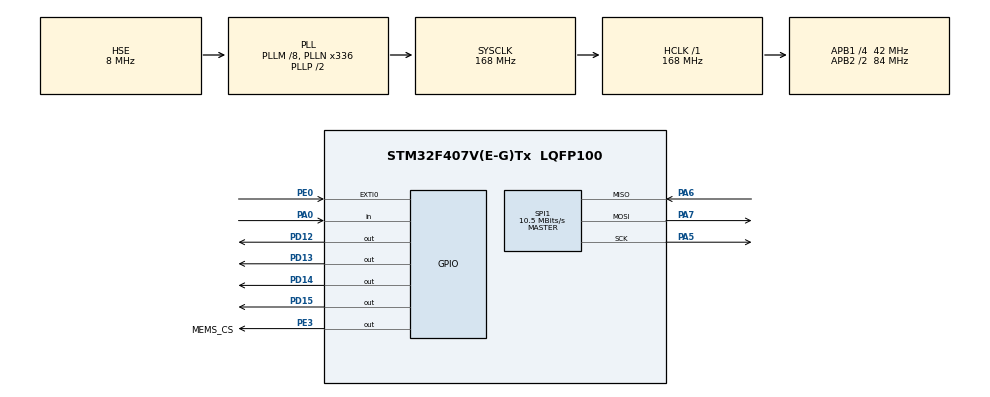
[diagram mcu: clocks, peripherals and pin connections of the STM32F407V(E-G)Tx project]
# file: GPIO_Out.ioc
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Mcu.Family=STM32F4
Mcu.Name=STM32F407V(E-G)Tx
Mcu.Package=LQFP100
NVIC.EXTI0_IRQn=true\:0\:0\:false\:false\:true\:true
NVIC.PriorityGroup=NVIC_PRIORITYGROUP_0
PA0-WKUP.Signal=GPIO_Input
PA5.Mode=Full_Duplex_Master
PA5.Signal=SPI1_SCK
PA6.Mode=Full_Duplex_Master
PA6.Signal=SPI1_MISO
PA7.Mode=Full_Duplex_Master
PA7.Signal=SPI1_MOSI
PD12.Signal=GPIO_Output
PD13.Signal=GPIO_Output
PD14.Signal=GPIO_Output
PD15.Signal=GPIO_Output
PE0.Signal=GPXTI0
PE3.GPIO_Label=MEMS_CS
PE3.Signal=GPIO_Output
PH0-OSC_IN.Mode=HSE-External-Oscillator
PH0-OSC_IN.Signal=RCC_OSC_IN
PH1-OSC_OUT.Mode=HSE-External-Oscillator
PH1-OSC_OUT.Signal=RCC_OSC_OUT
ProjectManager.HeapSize=0x200
ProjectManager.StackSize=0x400
ProjectManager.TargetToolchain=MDK-ARM V5
RCC.48MHZClocksFreq_Value=48000000
RCC.AHBFreq_Value=168000000
RCC.APB1CLKDivider=RCC_HCLK_DIV4
RCC.APB1Freq_Value=42000000
RCC.APB1TimFreq_Value=84000000
RCC.APB2CLKDivider=RCC_HCLK_DIV2
RCC.APB2Freq_Value=84000000
RCC.APB2TimFreq_Value=168000000
RCC.CortexFreq_Value=168000000
RCC.HCLKFreq_Value=168000000
RCC.HSE_VALUE=8000000
RCC.HSI_VALUE=16000000
RCC.LSE_VALUE=32768
RCC.PLLM=8
RCC.PLLN=336
RCC.PLLQ=7
RCC.PLLSourceVirtual=RCC_PLLSOURCE_HSE
RCC.SYSCLKFreq_VALUE=168000000
RCC.SYSCLKSource=RCC_SYSCLKSOURCE_PLLCLK
RCC.VCOOutputFreq_Value=336000000
SPI1.BaudRatePrescaler=SPI_BAUDRATEPRESCALER_8
SPI1.CalculateBaudRate=10.5 MBits/s
SPI1.Direction=SPI_DIRECTION_2LINES
SPI1.Mode=SPI_MODE_MASTER
SPI1.VirtualType=VM_MASTER
board=STM32F4DISCOVERY

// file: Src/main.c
/**
  ******************************************************************************
  * @file           : main.c
  * @brief          : Main program body
  ******************************************************************************
  ** This notice applies to any and all portions of this file
  * that are not between comment pairs USER CODE BEGIN and
  * USER CODE END. Other portions of this file, whether
  * inserted by the user or by software development tools
  * are owned by their respective copyright owners.
  *
  * COPYRIGHT(c) 2019 STMicroelectronics
  *
  * Redistribution and use in source and binary forms, with or without modification,
  * are permitted provided that the following conditions are met:
  *   1. Redistributions of source code must retain the above copyright notice,
  *      this list of conditions and the following disclaimer.
  *   2. Redistributions in binary form must reproduce the above copyright notice,
  *      this list of conditions and the following disclaimer in the documentation
  *      and/or other materials provided with the distribution.
  *   3. Neither the name of STMicroelectronics nor the names of its contributors
  *      may be used to endorse or promote products derived from this software
  *      without specific prior written permission.
  *
  * THIS SOFTWARE IS PROVIDED BY THE COPYRIGHT HOLDERS AND CONTRIBUTORS "AS IS"
  * AND ANY EXPRESS OR IMPLIED WARRANTIES, INCLUDING, BUT NOT LIMITED TO, THE
  * IMPLIED WARRANTIES OF MERCHANTABILITY AND FITNESS FOR A PARTICULAR PURPOSE ARE
  * DISCLAIMED. IN NO EVENT SHALL THE COPYRIGHT HOLDER OR CONTRIBUTORS BE LIABLE
  * FOR ANY DIRECT, INDIRECT, INCIDENTAL, SPECIAL, EXEMPLARY, OR CONSEQUENTIAL
  * DAMAGES (INCLUDING, BUT NOT LIMITED TO, PROCUREMENT OF SUBSTITUTE GOODS OR
  * SERVICES; LOSS OF USE, DATA, OR PROFITS; OR BUSINESS INTERRUPTION) HOWEVER
  * CAUSED AND ON ANY THEORY OF LIABILITY, WHETHER IN CONTRACT, STRICT LIABILITY,
  * OR TORT (INCLUDING NEGLIGENCE OR OTHERWISE) ARISING IN ANY WAY OUT OF THE USE
  * OF THIS SOFTWARE, EVEN IF ADVISED OF THE POSSIBILITY OF SUCH DAMAGE.
  *
  ******************************************************************************
  */
#include "main.h"
#include "stm32f4xx_hal.h"

/* USER CODE BEGIN Includes */
#include "MY_LIS3DSH.h"
/* USER CODE END Includes */

SPI_HandleTypeDef hspi1;

/* USER CODE BEGIN PV */
/* Private variables ---------------------------------------------------------*/

/* USER CODE END PV */

void SystemClock_Config(void);
static void MX_GPIO_Init(void);
static void MX_SPI1_Init(void);

/* USER CODE BEGIN PFP */
/* Private function prototypes -----------------------------------------------*/

/* USER CODE END PFP */

/* USER CODE BEGIN 0 */
LIS3DSH_DataScaled myData;

uint8_t drdyFlag=0;
/* USER CODE END 0 */

int main(void)
{

  /* USER CODE BEGIN 1 */
	LIS3DSH_InitTypeDef myAccConfigDef;
  /* USER CODE END 1 */

  /* MCU Configuration----------------------------------------------------------*/

  /* Reset of all peripherals, Initializes the Flash interface and the Systick. */
  HAL_Init();

  /* Configure the system clock */
  SystemClock_Config();

  /* Initialize all configured peripherals */
  MX_GPIO_Init();
  MX_SPI1_Init();

  /* USER CODE BEGIN 2 */
	myAccConfigDef.dataRate = LIS3DSH_DATARATE_25;
	myAccConfigDef.fullScale = LIS3DSH_FULLSCALE_4;
	myAccConfigDef.antiAliasingBW = LIS3DSH_FILTER_BW_50;
	myAccConfigDef.enableAxes = LIS3DSH_XYZ_ENABLE;
	myAccConfigDef.interruptEnable = true;
	LIS3DSH_Init(&hspi1, &myAccConfigDef);

	LIS3DSH_X_calibrate(-1000.0, 980.0);
	LIS3DSH_Y_calibrate(-1020.0, 1040.0);
	LIS3DSH_Z_calibrate(-920.0, 1040.0);

  /* USER CODE END 2 */

  /* Infinite loop */
  while (1)
  {

  /* USER CODE BEGIN 3 */
		if(drdyFlag == 1)
		{
			drdyFlag = 0;
			myData = LIS3DSH_GetDataScaled();
			if(myData.x < -500)
				HAL_GPIO_TogglePin(GPIOD, GPIO_PIN_12);
			else
				HAL_GPIO_WritePin(GPIOD, GPIO_PIN_12, GPIO_PIN_RESET);
			if(myData.x > 500)
				HAL_GPIO_TogglePin(GPIOD, GPIO_PIN_14);
			else
				HAL_GPIO_WritePin(GPIOD, GPIO_PIN_14, GPIO_PIN_RESET);
			if(myData.y < -500)
				HAL_GPIO_TogglePin(GPIOD, GPIO_PIN_15);
			else
				HAL_GPIO_WritePin(GPIOD, GPIO_PIN_15, GPIO_PIN_RESET);
			if(myData.y > 500)
				HAL_GPIO_TogglePin(GPIOD, GPIO_PIN_13);
			else
				HAL_GPIO_WritePin(GPIOD, GPIO_PIN_13, GPIO_PIN_RESET);
		}

  }
  /* USER CODE END 3 */

}

void SystemClock_Config(void)
{

  RCC_OscInitTypeDef RCC_OscInitStruct;
  RCC_ClkInitTypeDef RCC_ClkInitStruct;

    /**Configure the main internal regulator output voltage
    */
  __HAL_RCC_PWR_CLK_ENABLE();

  __HAL_PWR_VOLTAGESCALING_CONFIG(PWR_REGULATOR_VOLTAGE_SCALE1);

    /**Initializes the CPU, AHB and APB busses clocks
    */
  RCC_OscInitStruct.OscillatorType = RCC_OSCILLATORTYPE_HSE;
  RCC_OscInitStruct.HSEState = RCC_HSE_ON;
  RCC_OscInitStruct.PLL.PLLState = RCC_PLL_ON;
  RCC_OscInitStruct.PLL.PLLSource = RCC_PLLSOURCE_HSE;
  RCC_OscInitStruct.PLL.PLLM = 8;
  RCC_OscInitStruct.PLL.PLLN = 336;
  RCC_OscInitStruct.PLL.PLLP = RCC_PLLP_DIV2;
  RCC_OscInitStruct.PLL.PLLQ = 7;
  if (HAL_RCC_OscConfig(&RCC_OscInitStruct) != HAL_OK)
  {
    _Error_Handler(__FILE__, __LINE__);
  }

    /**Initializes the CPU, AHB and APB busses clocks
    */
  RCC_ClkInitStruct.ClockType = RCC_CLOCKTYPE_HCLK|RCC_CLOCKTYPE_SYSCLK
                              |RCC_CLOCKTYPE_PCLK1|RCC_CLOCKTYPE_PCLK2;
  RCC_ClkInitStruct.SYSCLKSource = RCC_SYSCLKSOURCE_PLLCLK;
  RCC_ClkInitStruct.AHBCLKDivider = RCC_SYSCLK_DIV1;
  RCC_ClkInitStruct.APB1CLKDivider = RCC_HCLK_DIV4;
  RCC_ClkInitStruct.APB2CLKDivider = RCC_HCLK_DIV2;

  if (HAL_RCC_ClockConfig(&RCC_ClkInitStruct, FLASH_LATENCY_5) != HAL_OK)
  {
    _Error_Handler(__FILE__, __LINE__);
  }

    /**Configure the Systick interrupt time
    */
  HAL_SYSTICK_Config(HAL_RCC_GetHCLKFreq()/1000);

    /**Configure the Systick
    */
  HAL_SYSTICK_CLKSourceConfig(SYSTICK_CLKSOURCE_HCLK);

  /* SysTick_IRQn interrupt configuration */
  HAL_NVIC_SetPriority(SysTick_IRQn, 0, 0);
}

/* SPI1 init function */
static void MX_SPI1_Init(void)
{

  /* SPI1 parameter configuration*/
  hspi1.Instance = SPI1;
  hspi1.Init.Mode = SPI_MODE_MASTER;
  hspi1.Init.Direction = SPI_DIRECTION_2LINES;
  hspi1.Init.DataSize = SPI_DATASIZE_8BIT;
  hspi1.Init.CLKPolarity = SPI_POLARITY_LOW;
  hspi1.Init.CLKPhase = SPI_PHASE_1EDGE;
  hspi1.Init.NSS = SPI_NSS_SOFT;
  hspi1.Init.BaudRatePrescaler = SPI_BAUDRATEPRESCALER_8;
  hspi1.Init.FirstBit = SPI_FIRSTBIT_MSB;
  hspi1.Init.TIMode = SPI_TIMODE_DISABLE;
  hspi1.Init.CRCCalculation = SPI_CRCCALCULATION_DISABLE;
  hspi1.Init.CRCPolynomial = 10;
  if (HAL_SPI_Init(&hspi1) != HAL_OK)
  {
    _Error_Handler(__FILE__, __LINE__);
  }

}

/** Configure pins as
        * Analog
        * Input
        * Output
        * EVENT_OUT
        * EXTI
*/
static void MX_GPIO_Init(void)
{

  GPIO_InitTypeDef GPIO_InitStruct;

  /* GPIO Ports Clock Enable */
  __HAL_RCC_GPIOE_CLK_ENABLE();
  __HAL_RCC_GPIOH_CLK_ENABLE();
  __HAL_RCC_GPIOA_CLK_ENABLE();
  __HAL_RCC_GPIOD_CLK_ENABLE();

  /*Configure GPIO pin Output Level */
  HAL_GPIO_WritePin(MEMS_CS_GPIO_Port, MEMS_CS_Pin, GPIO_PIN_RESET);

  /*Configure GPIO pin Output Level */
  HAL_GPIO_WritePin(GPIOD, GPIO_PIN_12|GPIO_PIN_13|GPIO_PIN_14|GPIO_PIN_15, GPIO_PIN_RESET);

  /*Configure GPIO pin : MEMS_CS_Pin */
  GPIO_InitStruct.Pin = MEMS_CS_Pin;
  GPIO_InitStruct.Mode = GPIO_MODE_OUTPUT_PP;
  GPIO_InitStruct.Pull = GPIO_NOPULL;
  GPIO_InitStruct.Speed = GPIO_SPEED_FREQ_LOW;
  HAL_GPIO_Init(MEMS_CS_GPIO_Port, &GPIO_InitStruct);

  /*Configure GPIO pin : PA0 */
  GPIO_InitStruct.Pin = GPIO_PIN_0;
  GPIO_InitStruct.Mode = GPIO_MODE_INPUT;
  GPIO_InitStruct.Pull = GPIO_NOPULL;
  HAL_GPIO_Init(GPIOA, &GPIO_InitStruct);

  /*Configure GPIO pins : PD12 PD13 PD14 PD15 */
  GPIO_InitStruct.Pin = GPIO_PIN_12|GPIO_PIN_13|GPIO_PIN_14|GPIO_PIN_15;
  GPIO_InitStruct.Mode = GPIO_MODE_OUTPUT_PP;
  GPIO_InitStruct.Pull = GPIO_NOPULL;
  GPIO_InitStruct.Speed = GPIO_SPEED_FREQ_LOW;
  HAL_GPIO_Init(GPIOD, &GPIO_InitStruct);

  /*Configure GPIO pin : PE0 */
  GPIO_InitStruct.Pin = GPIO_PIN_0;
  GPIO_InitStruct.Mode = GPIO_MODE_IT_RISING;
  GPIO_InitStruct.Pull = GPIO_NOPULL;
  HAL_GPIO_Init(GPIOE, &GPIO_InitStruct);

  /* EXTI interrupt init*/
  HAL_NVIC_SetPriority(EXTI0_IRQn, 0, 0);
  HAL_NVIC_EnableIRQ(EXTI0_IRQn);

}

/* USER CODE BEGIN 4 */
void HAL_GPIO_EXTI_Callback(uint16_t GPIO_Pin)
{
  /* Prevent unused argument(s) compilation warning */
  UNUSED(GPIO_Pin);
  /* NOTE: This function Should not be modified, when the callback is needed,
           the HAL_GPIO_EXTI_Callback could be implemented in the user file
   */
	drdyFlag = 1;
	//HAL_GPIO_TogglePin(GPIOD, GPIO_PIN_13);
}
/* USER CODE END 4 */

void _Error_Handler(char *file, int line)
{
  while(1)
  {
  }
}

/************************ (C) COPYRIGHT STMicroelectronics *****END OF FILE****/
